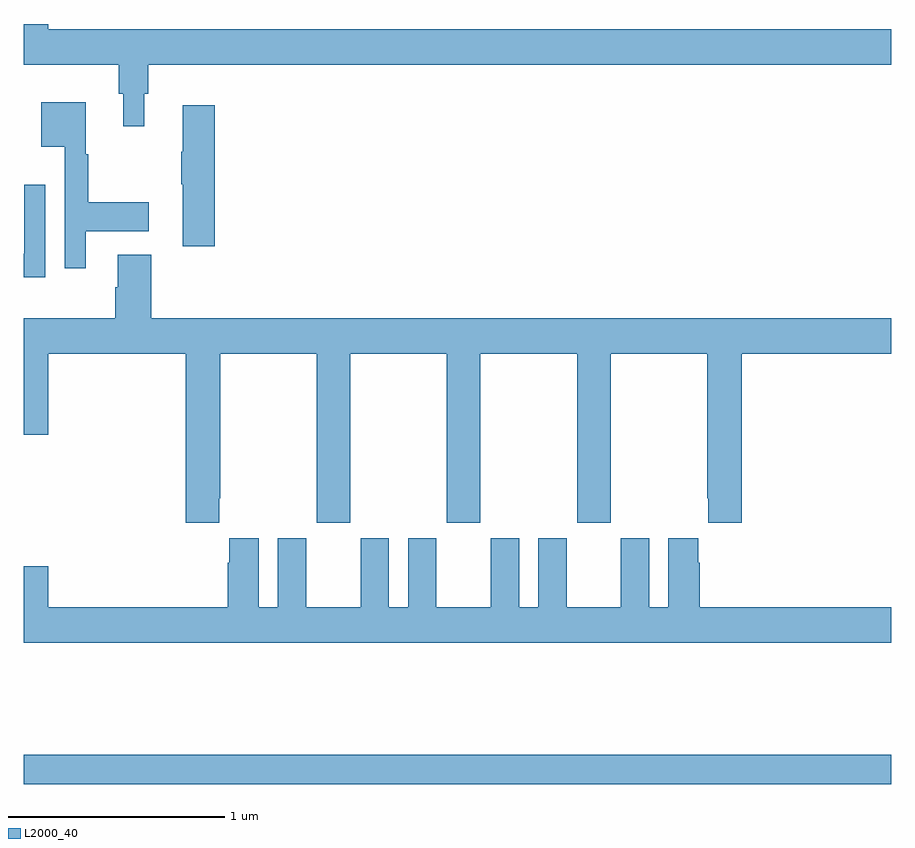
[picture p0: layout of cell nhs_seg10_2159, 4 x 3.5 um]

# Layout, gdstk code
import gdstk
lib = gdstk.Library(unit=1e-6, precision=1e-09)
def R(c, l, rs):  # rectangles x0, y0, x1, y1
    for r in rs: c.add(gdstk.rectangle(r[:2], r[2:], *l))
def P(c, l, *ps):  # polygons
    for p in ps: c.add(gdstk.Polygon(p, *l))
L2000_40 = (2000, 40)

nhs_seg10_2159 = lib.new_cell('nhs_seg10_2159')
R(nhs_seg10_2159, L2000_40, [(225,1300.996,229,1301.132)])
P(nhs_seg10_2159, L2000_40, [(225.556,1304.178),(225.575,1304.178),(225.575,1304.312),(229,1304.312),(229,1304.476),(225.112,1304.476),(225.112,1304.5),(225,1304.5),(225,1304.312),(225.439,1304.312),(225.439,1304.178),(225.458,1304.178),(225.458,1304.028),(225.556,1304.028)],
  [(225.286,1303.544),(225.577,1303.544),(225.577,1303.679),(225.298,1303.679),(225.298,1303.899),(225.286,1303.899),(225.286,1304.14),(225.08,1304.14),(225.08,1303.934),(225.189,1303.934),(225.189,1303.374),(225.286,1303.374)],
  [(225.881,1304.125),(225.734,1304.125),(225.734,1303.912),(225.727,1303.912),(225.727,1303.762),(225.734,1303.762),(225.734,1303.476),(225.881,1303.476)],
  [(225.099,1303.759),(225.002,1303.759),(225.002,1303.441),(225,1303.441),(225,1303.332),(225.099,1303.332)],
  [(225.901,1302.313),(225.906,1302.313),(225.906,1302.98),(226.351,1302.98),(226.351,1302.201),(226.506,1302.201),(226.506,1302.98),(226.951,1302.98),(226.951,1302.201),(227.106,1302.201),(227.106,1302.98),(227.551,1302.98),(227.551,1302.201),(227.706,1302.201),(227.706,1302.98),(228.151,1302.98),(228.151,1302.313),(228.155,1302.313),(228.155,1302.201),(228.311,1302.201),(228.311,1302.98),(229,1302.98),(229,1303.144),(225.587,1303.144),(225.587,1303.435),(225.434,1303.435),(225.434,1303.286),(225.422,1303.286),(225.422,1303.144),(225,1303.144),(225,1302.606),(225.112,1302.606),(225.112,1302.98),(225.746,1302.98),(225.746,1302.201),(225.901,1302.201)],
  [(227.972,1302.13),(227.972,1301.812),(227.884,1301.812),(227.884,1302.13),(227.753,1302.13),(227.753,1301.812),(227.503,1301.812),(227.503,1302.13),(227.372,1302.13),(227.372,1301.812),(227.284,1301.812),(227.284,1302.13),(227.153,1302.13),(227.153,1301.812),(226.903,1301.812),(226.903,1302.13),(226.772,1302.13),(226.772,1301.812),(226.684,1301.812),(226.684,1302.13),(226.553,1302.13),(226.553,1301.812),(226.303,1301.812),(226.303,1302.13),(226.172,1302.13),(226.172,1301.812),(226.084,1301.812),(226.084,1302.13),(225.947,1302.13),(225.947,1302.017),(225.941,1302.017),(225.941,1301.812),(225.112,1301.812),(225.112,1302.001),(225,1302.001),(225,1301.648),(229,1301.648),(229,1301.812),(228.116,1301.812),(228.116,1302.017),(228.109,1302.017),(228.109,1302.13)])

lib.write_gds('nhs_seg10_2159.gds')
